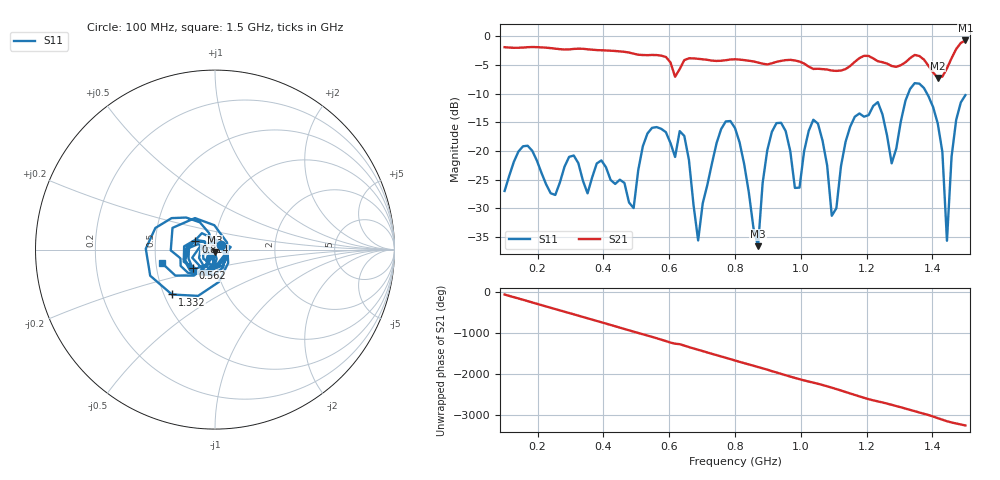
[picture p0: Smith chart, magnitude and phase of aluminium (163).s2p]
! NanoVNA-App
! Date: 2025-09-25 14:56:33
! Start: 100MHz Stop: 1,5GHz Points: 101
! S-Parameter data: F S11 S21 S12 S22
# Hz S RI R 50
!  Frequency  S11_Real  S11_Imag  S21_Real  S21_Imag  S12_Real  S12_Imag  S22_Real  S22_Imag
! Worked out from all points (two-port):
!   101 points, 100 MHz to 1.5 GHz, reference 50 ohm
!   highest |S21| = -0.75 dB at 1.5 GHz (marker M1); lowest = -7.3 dB at 1.416 GHz (marker M2)
!   |S21| within 3 dB of the highest: start of sweep to 591.9 MHz; 1.459 GHz to end of sweep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
!   lowest |S11| = -36.6 dB at 870 MHz (marker M3), VSWR 1.03, Z = 49.8 - j1.46 ohm
!   |S11| at or under -10 dB: start of sweep to 1.326 GHz; 1.383 GHz to end of sweep
!   S12 and S22 are empty: the file has one direction only
!   S11 on the Smith chart (normalised r, x): 100 MHz: 1.07, +0.06; 562 MHz: 0.76, -0.16; 814 MHz: 0.80, +0.07; 1.332 GHz: 0.55, -0.31; 1.5 GHz: 0.54, -0.09
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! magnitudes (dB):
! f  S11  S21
! 100 MHz  -27.0  -1.9
! 338 MHz  -25.2  -2.2
! 492 MHz  -30.0  -3.1
! 562 MHz  -15.9  -3.3
! 576 MHz  -16.2  -3.4
! 646 MHz  -17.4  -4.2
! 688 MHz  -35.6  -4.0
! 800 MHz  -16.0  -4.0
! 814 MHz  -18.5  -4.1
! 870 MHz  -36.6  -4.6
! 912 MHz  -16.7  -4.7
! 996 MHz  -26.4  -4.4
! 1.038 GHz  -14.6  -5.7
! 1.094 GHz  -31.3  -6.0
! 1.164 GHz  -14.0  -4.5
! 1.234 GHz  -11.5  -4.4
! 1.276 GHz  -22.2  -5.2
! 1.332 GHz  -9.2  -3.8
! 1.416 GHz  -15.2  -7.3
! 1.444 GHz  -35.7  -5.6
! 1.472 GHz  -14.6  -2.2
! 1.5 GHz  -10.3  -0.7
